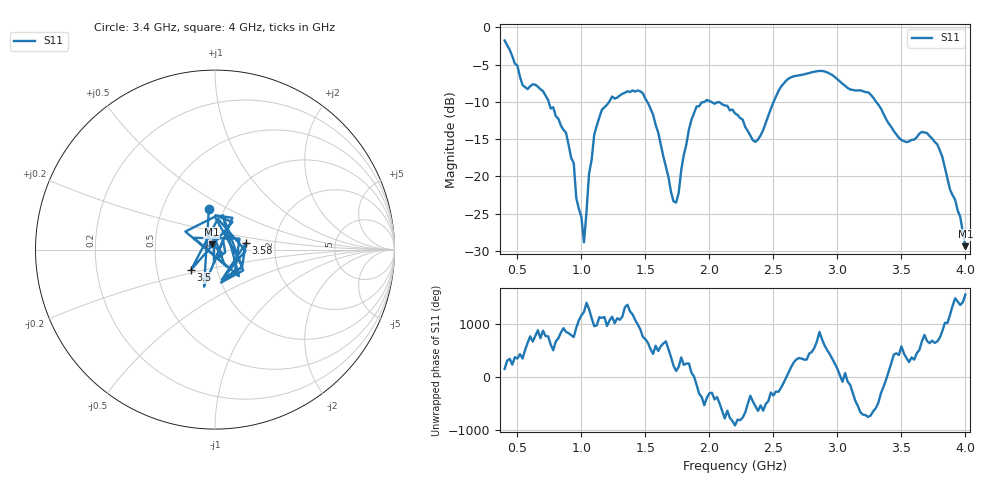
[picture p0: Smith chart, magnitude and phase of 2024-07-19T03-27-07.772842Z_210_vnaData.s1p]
!Created with skrf (http://scikit-rf.org).
# Hz S RI R 50.0
!freq ReS11 ImS11
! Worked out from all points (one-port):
!   181 points, 400 MHz to 4 GHz, reference 50 ohm
!   lowest |S11| = -29.4 dB at 4 GHz (marker M1), VSWR 1.07, Z = 48.2 + j2.84 ohm
!   |S11| at or under -10 dB: 744.2 MHz to 1.216 GHz (472.2 MHz wide, 48.2 % of centre); 2.015 GHz to 2.501 GHz (486.7 MHz wide, 21.6 % of centre); 3.303 GHz to end of sweep (the widest 3 of 4)
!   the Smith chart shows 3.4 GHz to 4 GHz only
!   S11 on the Smith chart (normalised r, x): 3.4 GHz: 0.85, +0.40; 3.5 GHz: 0.75, -0.18; 3.58 GHz: 1.41, +0.11; 4 GHz: 0.96, +0.06
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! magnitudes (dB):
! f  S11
! 400 MHz  -1.8
! 540 MHz  -7.7
! 700 MHz  -8.6
! 860 MHz  -13.7
! 940 MHz  -18.2
! 960 MHz  -22.9
! 1.02 GHz  -28.9
! 1.06 GHz  -19.6
! 1.1 GHz  -14.4
! 1.16 GHz  -11.1
! 1.3 GHz  -9.1
! 1.48 GHz  -8.8
! 1.6 GHz  -14.1
! 1.72 GHz  -23.4
! 1.76 GHz  -22.2
! 1.84 GHz  -13.7
! 1.9 GHz  -10.6
! 2.2 GHz  -11.5
! 2.36 GHz  -15.4
! 2.66 GHz  -6.6
! 3.1 GHz  -8.3
! 3.24 GHz  -8.7
! 3.4 GHz  -12.9
! 3.5 GHz  -15.1
! 3.56 GHz  -15.3
! 3.58 GHz  -15.1
! 3.78 GHz  -15.7
! 4 GHz  -29.4
